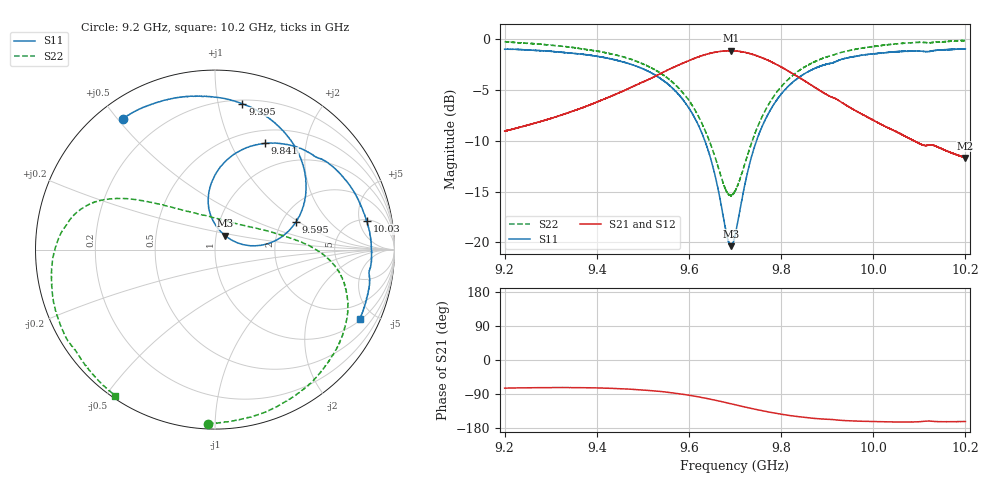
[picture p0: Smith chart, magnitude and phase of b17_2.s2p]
!Agilent Technologies,N5242A,MY51221714,A.09.90.19
!Agilent N5242A: A.09.90.19
!Date: Saturday, March 16, 2024 09:36:40
!Correction: S11(Full 2 Port(1,2))
!S21(Full 2 Port(1,2))
!S12(Full 2 Port(1,2))
!S22(Full 2 Port(1,2))
!S2P File: Measurements: S11, S21, S12, S22:
# Hz S  dB  R 50
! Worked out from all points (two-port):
!   16001 points, 9.2 GHz to 10.2 GHz, reference 50 ohm
!   highest |S21| = -1.14 dB at 9.691 GHz (marker M1); lowest = -11.7 dB at 10.2 GHz (marker M2)
!   |S21| within 3 dB of the highest: 9.503876 GHz to 9.50456 GHz (683.9 kHz wide, 0.0072 % of centre); 9.505 GHz to 9.852 GHz (347.5 MHz wide, 3.59 % of centre)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
!   lowest |S11| = -20.4 dB at 9.692 GHz (marker M3), VSWR 1.21, Z = 55.3 + j8.63 ohm
!   |S11| at or under -10 dB: 9.634 GHz to 9.747 GHz (112.3 MHz wide, 1.16 % of centre)
!   |S22| runs from -15.4 to -0.1 dB; largest |S21 - S12| = 0.011
!   S11 on the Smith chart (normalised r, x): 9.2 GHz: 0.07, +0.52; 9.395 GHz: 0.23, +1.18; 9.595 GHz: 2.38, +0.93; 9.841 GHz: 0.66, +1.36; 10.03 GHz: 5.27, +6.48; 10.2 GHz: 1.08, -4.16
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9.2e9  -1.00 125.1  -9.05 -74.2  -9.04 -74.8  -0.26 -92.3
9.27775e9  -1.14 107.6  -8.12 -73.1  -8.10 -73.5  -0.51 -70.8
9.366688e9  -1.48 86.5  -6.78 -73.1  -6.77 -73.7  -0.96 -47.3
9.39475e9  -1.64 79.4  -6.29 -73.5  -6.28 -74.1  -1.16 -40.0
9.463875e9  -2.34 60.6  -4.98 -76.5  -4.96 -77.0  -1.85 -23.8
9.533375e9  -3.72 39.4  -3.50 -82.4  -3.49 -83.0  -3.19 -9.2
9.595062e9  -6.47 18.7  -2.22 -92.0  -2.20 -92.5  -5.75 3.0
9.641438e9  -10.90 6.1  -1.46 -102.1  -1.45 -102.7  -9.69 17.4
9.691e9  -20.29 50.8  -1.14 -115.4  -1.13 -116.0  -15.40 75.5
9.692062e9  -20.37 53.7  -1.15 -115.7  -1.13 -116.3  -15.41 77.8
9.7e9  -19.38 74.0  -1.17 -117.9  -1.14 -118.6  -15.01 92.8
9.729375e9  -12.71 98.6  -1.40 -126.2  -1.37 -126.9  -11.10 128.4
9.754688e9  -9.05 94.2  -1.77 -132.8  -1.75 -133.4  -8.05 140.5
9.800062e9  -5.41 79.3  -2.73 -143.0  -2.75 -143.6  -4.70 150.8
9.841062e9  -3.69 64.8  -3.83 -150.0  -3.82 -150.6  -3.03 157.4
9.866688e9  -3.02 56.2  -4.56 -153.5  -4.54 -154.0  -2.36 161.6
9.951562e9  -1.78 31.4  -6.78 -160.6  -6.78 -161.1  -1.09 177.6
1.0032e10  -1.30 10.7  -8.71 -163.3  -8.71 -163.9  -0.55 -165.0
1.003338e10  -1.31 10.4  -8.75 -163.3  -8.74 -163.8  -0.54 -164.7
1.010425e10  -1.19 -6.1  -10.36 -162.6  -10.35 -163.1  -0.32 -148.4
1.019988e10  -0.97 -25.5  -11.69 -162.4  -11.67 -163.0  -0.14 -124.3
1.02e10  -0.97 -25.5  -11.68 -162.4  -11.66 -163.1  -0.14 -124.3
